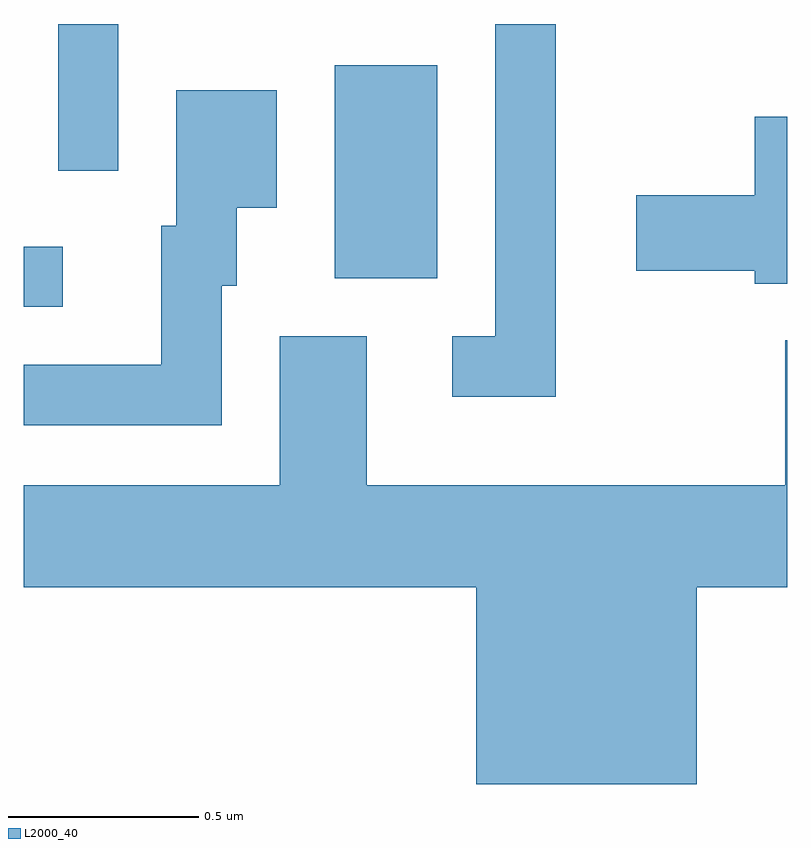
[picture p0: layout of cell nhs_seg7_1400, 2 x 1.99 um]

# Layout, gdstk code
import gdstk
lib = gdstk.Library(unit=1e-6, precision=1e-09)
def R(c, l, rs):  # rectangles x0, y0, x1, y1
    for r in rs: c.add(gdstk.rectangle(r[:2], r[2:], *l))
def P(c, l, *ps):  # polygons
    for p in ps: c.add(gdstk.Polygon(p, *l))
L2000_40 = (2000, 40)

nhs_seg7_1400 = lib.new_cell('nhs_seg7_1400')
R(nhs_seg7_1400, L2000_40, [(195.611,1699.511,195.713,1699.669), (196.426,1699.586,196.694,1700.144), (195.701,1699.868,195.859,1700.252)])
P(nhs_seg7_1400, L2000_40, [(197.004,1700.252),(196.846,1700.252),(196.846,1699.434),(196.733,1699.434),(196.733,1699.276),(197.004,1699.276)],
  [(196.129,1699.566),(196.169,1699.566),(196.169,1699.771),(196.274,1699.771),(196.274,1700.079),(196.011,1700.079),(196.011,1699.724),(195.971,1699.724),(195.971,1699.359),(195.611,1699.359),(195.611,1699.201),(196.129,1699.201)],
  [(197.611,1700.009),(197.526,1700.009),(197.526,1699.804),(197.216,1699.804),(197.216,1699.606),(197.526,1699.606),(197.526,1699.571),(197.611,1699.571)],
  [(197.374,1698.776),(197.611,1698.776),(197.611,1699.423),(197.606,1699.423),(197.606,1699.044),(196.509,1699.044),(196.509,1699.434),(196.281,1699.434),(196.281,1699.044),(195.611,1699.044),(195.611,1698.776),(196.796,1698.776),(196.796,1698.261),(197.374,1698.261)])

lib.write_gds('nhs_seg7_1400.gds')
